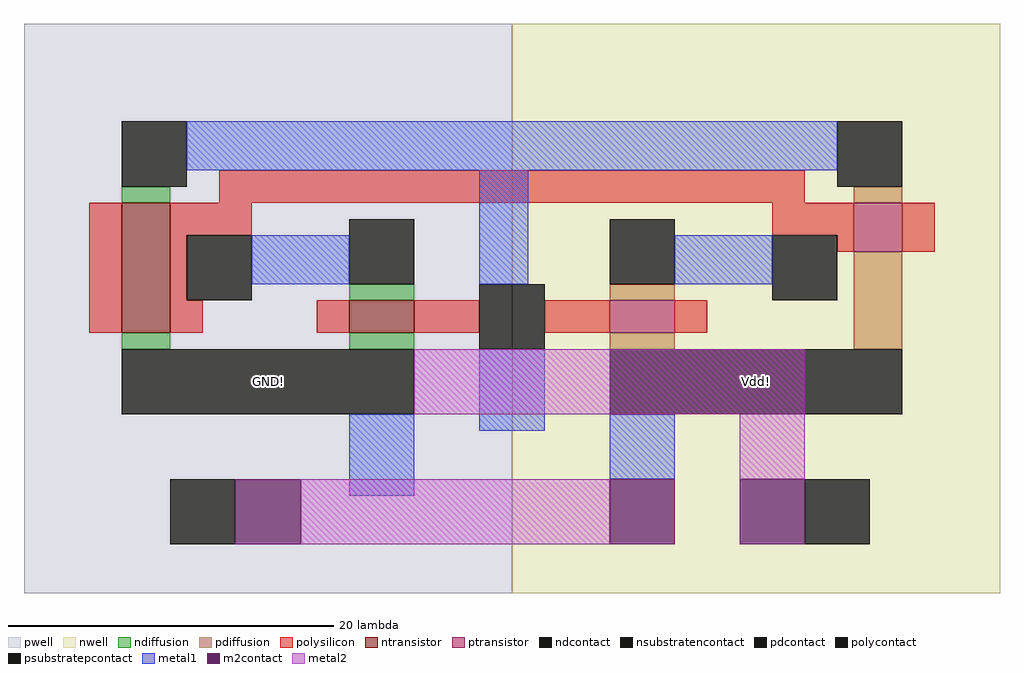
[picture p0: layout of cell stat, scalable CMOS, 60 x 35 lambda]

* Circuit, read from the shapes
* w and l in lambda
.subckt stat GND! Vdd!
M1 n1 n2 GND! Vdd! nfet w=3 l=8
M2 n2 n1 GND! Vdd! nfet w=4 l=2
M3 n2 n1 Vdd! n3 pfet w=4 l=2
M4 n1 n2 Vdd! n3 pfet w=3 l=3
.ends

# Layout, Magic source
magic
tech scmos
<< nwell >>
rect 27 -7 57 28
<< pwell >>
rect -3 -7 27 28
<< ntransistor >>
rect 3 9 6 17
rect 17 9 21 11
<< ptransistor >>
rect 48 14 51 17
rect 33 9 37 11
<< ndiffusion >>
rect 3 17 6 18
rect 17 11 21 12
rect 3 8 6 9
rect 17 8 21 9
<< pdiffusion >>
rect 48 17 51 18
rect 33 11 37 12
rect 33 8 37 9
rect 48 8 51 14
<< ndcontact >>
rect 3 18 7 22
rect 17 12 21 16
rect 3 4 21 8
<< pdcontact >>
rect 47 18 51 22
rect 33 12 37 16
rect 33 4 51 8
<< psubstratepcontact >>
rect 6 -4 10 0
<< nsubstratencontact >>
rect 45 -4 49 0
<< polysilicon >>
rect 9 17 45 19
rect 1 9 3 17
rect 6 15 11 17
rect 6 11 7 15
rect 6 9 8 11
rect 15 9 17 11
rect 21 9 25 11
rect 43 15 48 17
rect 47 14 48 15
rect 51 14 53 17
rect 29 9 33 11
rect 37 9 39 11
<< polycontact >>
rect 7 11 11 15
rect 25 8 29 12
rect 43 11 47 15
<< metal1 >>
rect 7 19 47 22
rect 11 12 17 15
rect 25 12 28 19
rect 37 12 43 15
rect 17 -1 21 4
rect 25 3 29 8
rect 33 0 37 4
<< m2contact >>
rect 10 -4 14 0
rect 33 -4 37 0
rect 41 -4 45 0
<< metal2 >>
rect 21 4 45 8
rect 41 0 45 4
rect 14 -4 33 0
<< labels >>
rlabel ndcontact 12 6 12 6 1 GND!
rlabel pdcontact 42 6 42 6 1 Vdd!
<< end >>
